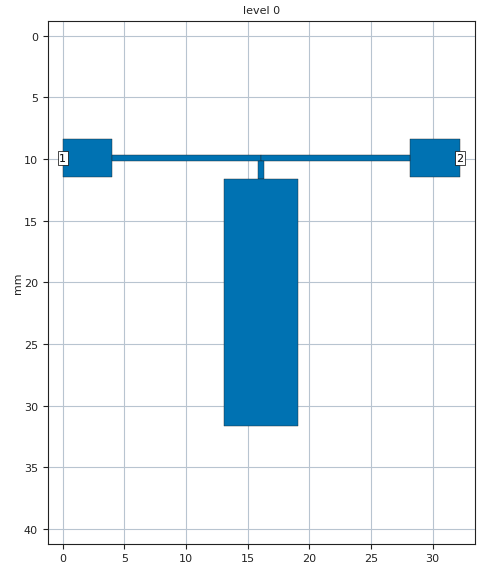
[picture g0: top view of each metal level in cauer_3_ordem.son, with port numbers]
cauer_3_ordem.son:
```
FTYP SONPROJ 13 ! Sonnet Project File
VER 15.53.lite
HEADER
LIC SL290709.106431 847bebfebdba DESKTOP-1CMJ3DP Arihe
DAT 05/13/2019 03:13:38
BUILT_BY_CREATED xgeom 15.53-Lite 04/13/2019 20:59:13
BUILT_BY_SAVED xgeom 15.53-Lite
MDATE 05/13/2019 03:13:38
HDATE 05/13/2019 03:13:38
END HEADER
DIM
FREQ GHZ
RSVY OHMM
IND NH
LNG MM
ANG DEG
CON /OH
CAP PF
RES OH
END DIM
FREQ
ABS 1.0e-9 3.0 
END FREQ
CONTROL
ABS
OPTIONS  -dj 
SPEED 0
CACHE_ABS 1
TARG_ABS 300
Q_ACC N
END CONTROL
GEO
DRP1 LEFT LINK
POLY 12 1
1
DRP1 RIGHT LINK
POLY 14 1
0
TMET "Lossless" 0 SUP 0 0 0 0
BMET "Lossless" 0 SUP 0 0 0 0
MET "Copper" 1 NOR 58000000 0 0.0347 
BOX 1 32.2 40 644 800 20 0
      20 1 1 0 0 0 0 "Air"
      1.5306 4.1 1 0.02 0 0 0 "FR-4"
LORGN 0 40 U 
POR1 STD
POLY 12 1
3
1 50 0 0 0 1.250000992e-009 9.925 
POR1 STD
POLY 14 1
1
2 50 0 0 0 32.2 9.925 
NUM 6
0 5 0 N 12 1 1 100 100 0 0 0 Y
1.250000992e-009 8.375
4.000000002 8.375
4.000000002 11.475
1.250000992e-009 11.475
1.250000992e-009 8.375
END
0 5 0 N 14 1 1 100 100 0 0 0 Y
28.2 8.375
32.2 8.375
32.2 11.475
28.2 11.475
28.2 8.375
END
0 5 0 N 16 1 1 100 100 0 0 0 Y
3.999999724 9.675
16.09999973 9.675
16.09999973 10.175
3.999999724 10.175
3.999999724 9.675
END
0 5 0 N 17 1 1 100 100 0 0 0 Y
16.09999973 9.675
28.19999973 9.675
28.19999973 10.175
16.09999973 10.175
16.09999973 9.675
END
0 5 0 N 18 1 1 100 100 0 0 0 Y
15.85000036 10.125
16.35000036 10.125
16.35000036 11.625
15.85000036 11.625
15.85000036 10.125
END
0 5 0 N 19 1 1 100 100 0 0 0 Y
13.10000036 11.625
19.10000036 11.625
19.10000036 31.625
13.10000036 31.625
13.10000036 11.625
END
END GEO
OPT
MAX 100
VARS
END
END OPT
VARSWP
END VARSWP
QSG
IMPORT NO
EXTRA_METAL NO
UNITS YES
ALIGN NO
REF NO
VIEW_RES NO
METALS YES
USED NO
END QSG
```
